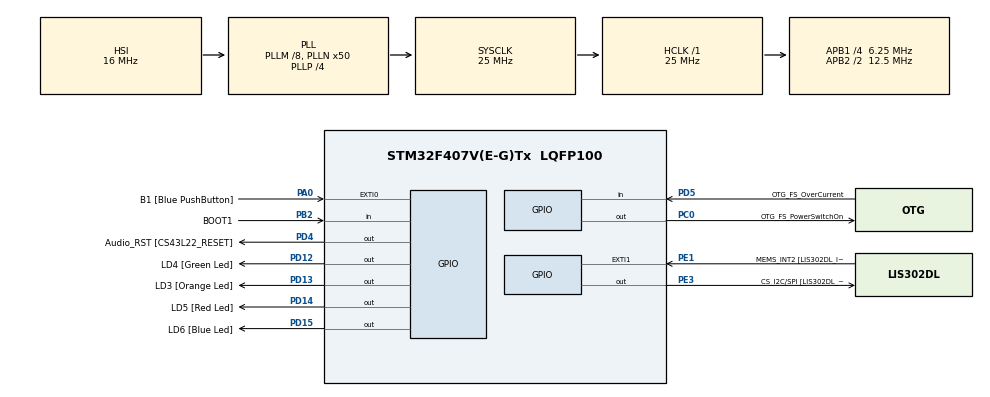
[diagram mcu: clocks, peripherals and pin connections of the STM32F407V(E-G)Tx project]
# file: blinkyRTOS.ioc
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FREERTOS.Tasks01=defaultTask,24,128,StartDefaultTask,Default,NULL,Dynamic,NULL,NULL
Mcu.Family=STM32F4
Mcu.Name=STM32F407V(E-G)Tx
Mcu.Package=LQFP100
NVIC.PriorityGroup=NVIC_PRIORITYGROUP_4
PA0-WKUP.GPIO_Label=B1 [Blue PushButton]
PA0-WKUP.Signal=GPXTI0
PA10.GPIO_Label=OTG_FS_ID
PA10.GPIO_Mode=GPIO_MODE_AF_PP
PA10.GPIO_PuPd=GPIO_NOPULL
PA10.GPIO_Speed=GPIO_SPEED_FREQ_LOW
PA10.Signal=USB_OTG_FS_ID
PA11.GPIO_Label=OTG_FS_DM
PA11.GPIO_Mode=GPIO_MODE_AF_PP
PA11.GPIO_PuPd=GPIO_NOPULL
PA11.GPIO_Speed=GPIO_SPEED_FREQ_LOW
PA11.Signal=USB_OTG_FS_DM
PA12.GPIO_Label=OTG_FS_DP
PA12.GPIO_Mode=GPIO_MODE_AF_PP
PA12.GPIO_PuPd=GPIO_NOPULL
PA12.GPIO_Speed=GPIO_SPEED_FREQ_LOW
PA12.Signal=USB_OTG_FS_DP
PA13.GPIO_Label=SWDIO
PA13.Signal=SYS_JTMS-SWDIO
PA14.GPIO_Label=SWCLK
PA14.Signal=SYS_JTCK-SWCLK
PA4.GPIO_Label=I2S3_WS [CS43L22_LRCK]
PA4.GPIO_Mode=GPIO_MODE_AF_PP
PA4.GPIO_PuPd=GPIO_NOPULL
PA4.GPIO_Speed=GPIO_SPEED_FREQ_LOW
PA4.Signal=I2S3_WS
PA5.GPIO_Label=SPI1_SCK [LIS302DL_SCL/SPC]
PA5.GPIO_Mode=GPIO_MODE_AF_PP
PA5.GPIO_PuPd=GPIO_NOPULL
PA5.GPIO_Speed=GPIO_SPEED_FREQ_LOW
PA5.Signal=SPI1_SCK
PA6.GPIO_Label=SPI1_MISO [LIS302DL_SDO]
PA6.GPIO_Mode=GPIO_MODE_AF_PP
PA6.GPIO_PuPd=GPIO_NOPULL
PA6.GPIO_Speed=GPIO_SPEED_FREQ_LOW
PA6.Signal=SPI1_MISO
PA7.GPIO_Label=SPI1_MOSI [LIS302DL_SDA/SDI/SDO]
PA7.GPIO_Mode=GPIO_MODE_AF_PP
PA7.GPIO_PuPd=GPIO_NOPULL
PA7.GPIO_Speed=GPIO_SPEED_FREQ_LOW
PA7.Signal=SPI1_MOSI
PA9.GPIO_Label=VBUS_FS
PA9.GPIO_Mode=GPIO_MODE_INPUT
PA9.GPIO_PuPd=GPIO_NOPULL
PA9.Signal=USB_OTG_FS_VBUS
PB10.GPIO_Label=CLK_IN [MP45DT02_CLK]
PB10.GPIO_Mode=GPIO_MODE_AF_PP
PB10.GPIO_PuPd=GPIO_NOPULL
PB10.GPIO_Speed=GPIO_SPEED_FREQ_LOW
PB10.Signal=I2S2_CK
PB2.GPIO_Label=BOOT1
PB2.GPIO_Mode=GPIO_MODE_INPUT
PB2.GPIO_PuPd=GPIO_NOPULL
PB2.Signal=GPIO_Input
PB3.GPIO_Label=SWO
PB3.Signal=SYS_JTDO-SWO
PB6.GPIO_Label=Audio_SCL [CS43L22_SCL]
PB6.GPIO_Mode=GPIO_MODE_AF_OD
PB6.GPIO_PuPd=GPIO_NOPULL
PB6.GPIO_Speed=GPIO_SPEED_FREQ_LOW
PB6.Signal=I2C1_SCL
PB9.GPIO_Label=Audio_SDA [CS43L22_SDA]
PB9.GPIO_Mode=GPIO_MODE_AF_OD
PB9.GPIO_PuPd=GPIO_NOPULL
PB9.GPIO_Speed=GPIO_SPEED_FREQ_LOW
PB9.Signal=I2C1_SDA
PC0.GPIO_Label=OTG_FS_PowerSwitchOn
PC0.GPIO_PuPd=GPIO_NOPULL
PC0.GPIO_Speed=GPIO_SPEED_FREQ_LOW
PC0.PinState=GPIO_PIN_SET
PC0.Signal=GPIO_Output
PC10.GPIO_Label=I2S3_SCK [CS43L22_SCLK]
PC10.GPIO_Mode=GPIO_MODE_AF_PP
PC10.GPIO_PuPd=GPIO_NOPULL
PC10.GPIO_Speed=GPIO_SPEED_FREQ_LOW
PC10.Signal=I2S3_CK
PC12.GPIO_Label=I2S3_SD [CS43L22_SDIN]
PC12.GPIO_Mode=GPIO_MODE_AF_PP
PC12.GPIO_PuPd=GPIO_NOPULL
PC12.GPIO_Speed=GPIO_SPEED_FREQ_LOW
PC12.Signal=I2S3_SD
PC14-OSC32_IN.GPIO_Label=PC14-OSC32_IN
PC14-OSC32_IN.Signal=RCC_OSC32_IN
PC15-OSC32_OUT.GPIO_Label=PC15-OSC32_OUT
PC15-OSC32_OUT.Signal=RCC_OSC32_OUT
PC3.GPIO_Label=PDM_OUT [MP45DT02_DOUT]
PC3.GPIO_Mode=GPIO_MODE_AF_PP
PC3.GPIO_PuPd=GPIO_NOPULL
PC3.GPIO_Speed=GPIO_SPEED_FREQ_LOW
PC3.Signal=I2S2_SD
PC7.GPIO_Label=I2S3_MCK [CS43L22_MCLK]
PC7.GPIO_Mode=GPIO_MODE_AF_PP
PC7.GPIO_PuPd=GPIO_NOPULL
PC7.GPIO_Speed=GPIO_SPEED_FREQ_LOW
PC7.Signal=I2S3_MCK
PD12.GPIO_Label=LD4 [Green Led]
PD12.GPIO_PuPd=GPIO_NOPULL
PD12.GPIO_Speed=GPIO_SPEED_FREQ_LOW
PD12.Signal=GPIO_Output
PD13.GPIO_Label=LD3 [Orange Led]
PD13.GPIO_PuPd=GPIO_NOPULL
PD13.GPIO_Speed=GPIO_SPEED_FREQ_LOW
PD13.Signal=GPIO_Output
PD14.GPIO_Label=LD5 [Red Led]
PD14.GPIO_PuPd=GPIO_NOPULL
PD14.GPIO_Speed=GPIO_SPEED_FREQ_LOW
PD14.Signal=GPIO_Output
PD15.GPIO_Label=LD6 [Blue Led]
PD15.GPIO_PuPd=GPIO_NOPULL
PD15.GPIO_Speed=GPIO_SPEED_FREQ_LOW
PD15.Signal=GPIO_Output
PD4.GPIO_Label=Audio_RST [CS43L22_RESET]
PD4.GPIO_PuPd=GPIO_NOPULL
PD4.GPIO_Speed=GPIO_SPEED_FREQ_LOW
PD4.Signal=GPIO_Output
PD5.GPIO_Label=OTG_FS_OverCurrent
PD5.GPIO_Mode=GPIO_MODE_INPUT
PD5.GPIO_PuPd=GPIO_NOPULL
PD5.Signal=GPIO_Input
PE1.GPIO_Label=MEMS_INT2 [LIS302DL_INT2]
PE1.GPIO_ModeDefaultEXTI=GPIO_MODE_EVT_RISING
PE1.GPIO_PuPd=GPIO_NOPULL
PE1.Signal=GPXTI1
PE3.GPIO_Label=CS_I2C/SPI [LIS302DL_CS_I2C/SPI]
PE3.GPIO_PuPd=GPIO_NOPULL
PE3.GPIO_Speed=GPIO_SPEED_FREQ_LOW
PE3.Signal=GPIO_Output
PH0-OSC_IN.GPIO_Label=PH0-OSC_IN
PH0-OSC_IN.Signal=RCC_OSC_IN
PH1-OSC_OUT.GPIO_Label=PH1-OSC_OUT
PH1-OSC_OUT.Signal=RCC_OSC_OUT
ProjectManager.HeapSize=0x200
ProjectManager.StackSize=0x400
ProjectManager.TargetToolchain=Makefile
RCC.48MHZClocksFreq_Value=14285714.285714285
RCC.AHBFreq_Value=25000000
RCC.APB1CLKDivider=RCC_HCLK_DIV4
RCC.APB1Freq_Value=6250000
RCC.APB1TimFreq_Value=12500000
RCC.APB2CLKDivider=RCC_HCLK_DIV2
RCC.APB2Freq_Value=12500000
RCC.APB2TimFreq_Value=25000000
RCC.CortexFreq_Value=25000000
RCC.HCLKFreq_Value=25000000
RCC.HSE_VALUE=8000000
RCC.HSI_VALUE=16000000
RCC.LSE_VALUE=32768
RCC.PLLM=8
RCC.PLLN=50
RCC.PLLP=RCC_PLLP_DIV4
RCC.PLLQ=7
RCC.SYSCLKFreq_VALUE=25000000
RCC.SYSCLKSource=RCC_SYSCLKSOURCE_PLLCLK
RCC.VCOOutputFreq_Value=100000000
VP_FREERTOS_VS_CMSIS_V2.Mode=CMSIS_V2
board=STM32F407G-DISC1

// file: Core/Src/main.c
/* USER CODE BEGIN Header */
/**
 ******************************************************************************
 * @file           : main.c
 * @brief          : Main program body
 ******************************************************************************
 * @attention
 *
 * Copyright (c) 2026 STMicroelectronics.
 * All rights reserved.
 *
 * This software is licensed under terms that can be found in the LICENSE file
 * in the root directory of this software component.
 * If no LICENSE file comes with this software, it is provided AS-IS.
 *
 ******************************************************************************
 */
/* USER CODE END Header */
#include "main.h"
#include "cmsis_os.h"
#include "gpio.h"

/* USER CODE BEGIN PD */
#define LED1_PIN GPIO_PIN_12
#define LED2_PIN GPIO_PIN_13
#define LED3_PIN GPIO_PIN_14
#define LED4_PIN GPIO_PIN_15
#define LED_PORT GPIOD

#define DURACION_SHOW_MS 15000u
#define STEP_MS 100u
/* USER CODE END PD */

void SystemClock_Config(void);
void MX_FREERTOS_Init(void);

/* USER CODE BEGIN 0 */
void vTareaLightShow(void *pvParameters) {
  (void)pvParameters;
  const uint16_t patron[] = {0,
                             LED1_PIN | LED3_PIN,
                             LED2_PIN | LED4_PIN,
                             LED1_PIN | LED3_PIN,
                             LED2_PIN | LED4_PIN,
                             0,
                             LED1_PIN,
                             LED1_PIN | LED2_PIN,
                             LED2_PIN | LED3_PIN,
                             LED3_PIN | LED4_PIN,
                             LED4_PIN | LED3_PIN,
                             LED3_PIN | LED2_PIN,
                             LED2_PIN | LED1_PIN,
                             0};
  const uint8_t PASOS = sizeof(patron) / sizeof(patron[0]);

  TickType_t xInicio = xTaskGetTickCount();
  uint8_t paso = 0;

  /* animacion durante 15 segundos */
  while (xTaskGetTickCount() - xInicio < pdMS_TO_TICKS(DURACION_SHOW_MS)) {
    HAL_GPIO_WritePin(LED_PORT, LED1_PIN | LED2_PIN | LED3_PIN | LED4_PIN,
                      GPIO_PIN_RESET);
    HAL_GPIO_WritePin(LED_PORT, patron[paso], GPIO_PIN_SET);
    paso = (paso + 1) % PASOS;
    vTaskDelay(pdMS_TO_TICKS(STEP_MS));
  }

  /* apaga todo y deja LED4 encendido*/
  HAL_GPIO_WritePin(LED_PORT, LED1_PIN | LED2_PIN | LED3_PIN | LED4_PIN,
                    GPIO_PIN_RESET);
  HAL_GPIO_WritePin(LED_PORT, LED4_PIN, GPIO_PIN_SET);

  /* bon voyage */
  vTaskDelete(NULL);
}
/* USER CODE END 0 */

int main(void) {

  /* MCU Configuration--------------------------------------------------------*/

  /* Reset of all peripherals, Initializes the Flash interface and the Systick.
   */
  HAL_Init();

  /* Configure the system clock */
  SystemClock_Config();

  /* Initialize all configured peripherals */
  MX_GPIO_Init();
  /* USER CODE BEGIN 2 */
  xTaskCreate(vTareaLightShow, "SHOW", 256, NULL, 1, NULL);
  /* USER CODE END 2 */

  /* Init scheduler */
  osKernelInitialize(); /* Call init function for freertos objects (in
                           cmsis_os2.c) */
  MX_FREERTOS_Init();

  /* Start scheduler */
  osKernelStart();

  /* We should never get here as control is now taken by the scheduler */

  /* Infinite loop */
  while (1) {

  }
}

void SystemClock_Config(void) {
  RCC_OscInitTypeDef RCC_OscInitStruct = {0};
  RCC_ClkInitTypeDef RCC_ClkInitStruct = {0};

  /** Configure the main internal regulator output voltage
   */
  __HAL_RCC_PWR_CLK_ENABLE();
  __HAL_PWR_VOLTAGESCALING_CONFIG(PWR_REGULATOR_VOLTAGE_SCALE1);

  /** Initializes the RCC Oscillators according to the specified parameters
   * in the RCC_OscInitTypeDef structure.
   */
  RCC_OscInitStruct.OscillatorType = RCC_OSCILLATORTYPE_HSI;
  RCC_OscInitStruct.HSIState = RCC_HSI_ON;
  RCC_OscInitStruct.HSICalibrationValue = RCC_HSICALIBRATION_DEFAULT;
  RCC_OscInitStruct.PLL.PLLState = RCC_PLL_ON;
  RCC_OscInitStruct.PLL.PLLSource = RCC_PLLSOURCE_HSI;
  RCC_OscInitStruct.PLL.PLLM = 8;
  RCC_OscInitStruct.PLL.PLLN = 50;
  RCC_OscInitStruct.PLL.PLLP = RCC_PLLP_DIV4;
  RCC_OscInitStruct.PLL.PLLQ = 7;
  if (HAL_RCC_OscConfig(&RCC_OscInitStruct) != HAL_OK) {
    Error_Handler();
  }

  /** Initializes the CPU, AHB and APB buses clocks
   */
  RCC_ClkInitStruct.ClockType = RCC_CLOCKTYPE_HCLK | RCC_CLOCKTYPE_SYSCLK |
                                RCC_CLOCKTYPE_PCLK1 | RCC_CLOCKTYPE_PCLK2;
  RCC_ClkInitStruct.SYSCLKSource = RCC_SYSCLKSOURCE_PLLCLK;
  RCC_ClkInitStruct.AHBCLKDivider = RCC_SYSCLK_DIV1;
  RCC_ClkInitStruct.APB1CLKDivider = RCC_HCLK_DIV4;
  RCC_ClkInitStruct.APB2CLKDivider = RCC_HCLK_DIV2;

  if (HAL_RCC_ClockConfig(&RCC_ClkInitStruct, FLASH_LATENCY_0) != HAL_OK) {
    Error_Handler();
  }
}

void Error_Handler(void) {
  __disable_irq();
  while (1) {
  }
}
#ifdef USE_FULL_ASSERT
/**
 * @brief  Reports the name of the source file and the source line number
 *         where the assert_param error has occurred.
 * @param  file: pointer to the source file name
 * @param  line: assert_param error line source number
 * @retval None
 */
void assert_failed(uint8_t *file, uint32_t line) {
  /* USER CODE BEGIN 6 */
  /* User can add his own implementation to report the file name and line
     number, ex: printf("Wrong parameters value: file %s on line %d\r\n", file,
     line) */
  /* USER CODE END 6 */
}
#endif /* USE_FULL_ASSERT */
